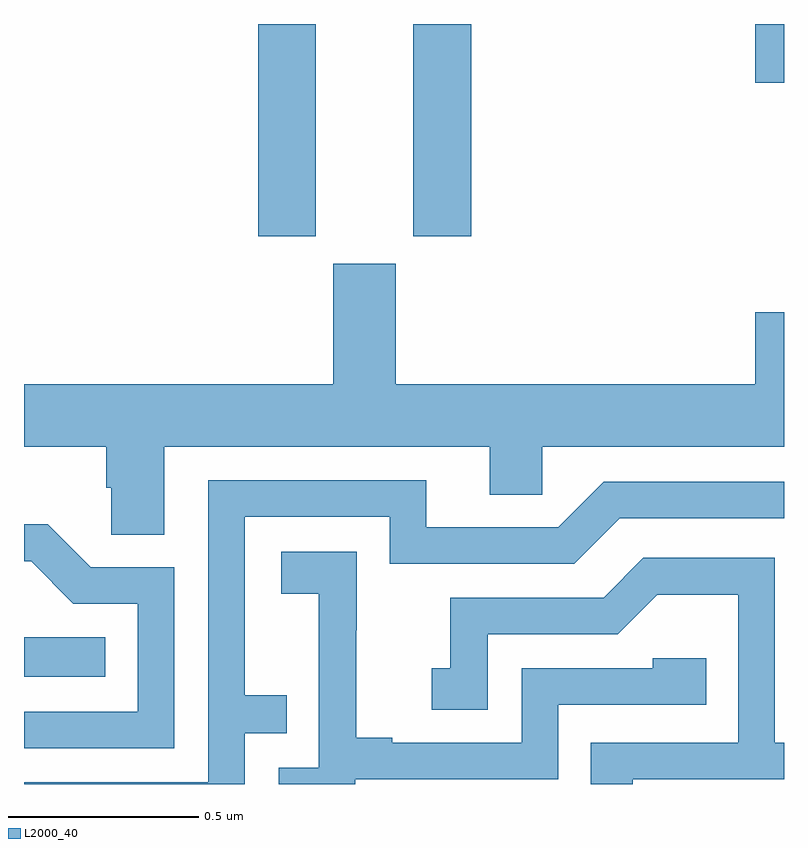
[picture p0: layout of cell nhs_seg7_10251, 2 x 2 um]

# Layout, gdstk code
import gdstk
lib = gdstk.Library(unit=1e-6, precision=1e-09)
def R(c, l, rs):  # rectangles x0, y0, x1, y1
    for r in rs: c.add(gdstk.rectangle(r[:2], r[2:], *l))
def P(c, l, *ps):  # polygons
    for p in ps: c.add(gdstk.Polygon(p, *l))
L2000_40 = (2000, 40)

nhs_seg7_10251 = lib.new_cell('nhs_seg7_10251')
R(nhs_seg7_10251, L2000_40, [(247,1061.282,247.214,1061.386), (247.616,1062.441,247.768,1063), (248.024,1062.441,248.177,1063), (248.924,1062.846,249,1063)])
P(nhs_seg7_10251, L2000_40, [(247.369,1061.888),(248.225,1061.888),(248.225,1061.761),(248.364,1061.761),(248.364,1061.888),(249,1061.888),(249,1062.241),(248.924,1062.241),(248.924,1062.052),(247.978,1062.052),(247.978,1062.369),(247.814,1062.369),(247.814,1062.052),(247,1062.052),(247,1061.888),(247.217,1061.888),(247.217,1061.779),(247.23,1061.779),(247.23,1061.656),(247.369,1061.656)],
  [(247.581,1061.133),(247.691,1061.133),(247.691,1061.234),(247.581,1061.234),(247.581,1061.703),(247.962,1061.703),(247.962,1061.58),(248.448,1061.58),(248.568,1061.7),(249,1061.7),(249,1061.796),(248.526,1061.796),(248.406,1061.676),(248.059,1061.676),(248.059,1061.799),(247.485,1061.799),(247.485,1061.004),(247,1061.004),(247,1061),(247.581,1061)],
  [(247.395,1061.571),(247.176,1061.571),(247.063,1061.684),(247,1061.684),(247,1061.586),(247.019,1061.586),(247.13,1061.475),(247.299,1061.475),(247.299,1061.19),(247,1061.19),(247,1061.094),(247.395,1061.094)],
  [(247.872,1061.013),(248.406,1061.013),(248.406,1061.208),(248.795,1061.208),(248.795,1061.331),(248.655,1061.331),(248.655,1061.304),(248.31,1061.304),(248.31,1061.109),(247.969,1061.109),(247.969,1061.122),(247.874,1061.122),(247.874,1061.405),(247.875,1061.405),(247.875,1061.611),(247.677,1061.611),(247.677,1061.501),(247.775,1061.501),(247.775,1061.273),(247.776,1061.273),(247.776,1061.043),(247.671,1061.043),(247.671,1061),(247.872,1061)],
  [(248.602,1061.013),(249,1061.013),(249,1061.109),(248.976,1061.109),(248.976,1061.595),(248.63,1061.595),(248.525,1061.49),(248.122,1061.49),(248.122,1061.305),(248.073,1061.305),(248.073,1061.196),(248.22,1061.196),(248.22,1061.394),(248.562,1061.394),(248.666,1061.498),(248.88,1061.498),(248.88,1061.109),(248.491,1061.109),(248.491,1061),(248.602,1061)])

lib.write_gds('nhs_seg7_10251.gds')
